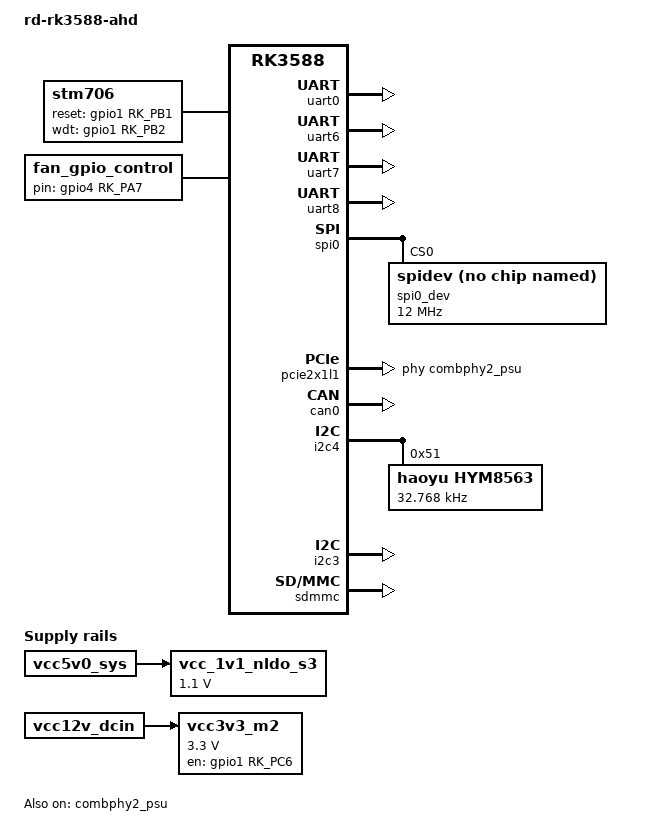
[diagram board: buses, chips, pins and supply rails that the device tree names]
/* board base */
//#include "../rk3588-evb4-lp4-v10-linux.dts"
#include "rp-rk3588-board.dtsi"

#include "rp-tp-i2c6-gt911.dtsi"
#include "rd-rk3588-lcd-gpio.dtsi"
#include "rpdzkj_config.dtsi"

/* usb */
#include "rp-usb-typea-rk3588.dtsi"
#include "rp-usb-host.dtsi"

/* ethernet */
#include "rp-eth-pcie2gmac-rk3588.dtsi"
#include "rp-eth-gmac1.dtsi"

/* pcie */
#include "rp-pcie-power-rk3588.dtsi"

/* audio */
#include "rp-audio-rt5640.dtsi"

/* wifi/bt */
#include "rp-wifi-bt-ap6275p-rk3588.dtsi"

/* camera */
#include "rp-camera-dcphy0-mipi-xs9922b.dtsi"
#include "rp-camera-dcphy1-mipi-xs9922b.dtsi"

#include "rp-lcd-hdmi0.dtsi"

/* lcd */
//#include "rp-lcd-mipi0-5-720-1280-v2.dtsi"
//#include "rp-lcd-mipi0-5-720-1280-v2-boxTP.dtsi"
//#include "rp-lcd-mipi0-7-720-1280.dtsi"
//#include "rp-lcd-mipi0-7-1024-600.dtsi"
#include "rp-lcd-mipi0-7-1024-600.dtsi"
//#include "rp-lcd-mipi0-8-800-1280-v3.dtsi"
//#include "rp-lcd-mipi0-8-1200-1920.dtsi"
//#include "rp-lcd-mipi0-10-800-1280-v3.dtsi"
//#include "rp-lcd-mipi0-10-1200-1920.dtsi"
//#include "rp-lcd-mipi0-10-1920-1200-jc.dtsi"
//#include "rp-lcd-box-edp1-13.3-15.6-1920-1080.dtsi"
//#include "rp-lcd-mipi1-gm8775-lvds-21-1920-1080.dtsi"
//#include "rp-lcd-mipi1-gm8775-lvds-10.1-1024-600.dtsi"

/* quadplex lcd */
//#include "rp-lcd-quadplex-mipi0-5-720-1280-v2-boxTP-mipi1-gm8775-lvds-10.1-1024-600-hdmi0-edp1.dtsi"
/ {
    model = "rd-rk3588-ahd";

    reserved-memory {
        #address-cells = <2>;
        #size-cells = <2>;
        ranges;
        dma_trans: dma-trans@3c000000 {
            reg = <0x0 0x3c000000 0x0 0x04000000>;
        };
    };

    vcc_1v1_nldo_s3: vcc-1v1-nldo-s3 {
        compatible = "regulator-fixed";
        regulator-name = "vcc_1v1_nldo_s3";
        regulator-always-on;
        regulator-boot-on;
        regulator-min-microvolt = <1100000>;
        regulator-max-microvolt = <1100000>;
        vin-supply = <&vcc5v0_sys>;
    };

    vcc3v3_m2: vcc3v3-m2 {
            compatible = "regulator-fixed";
            regulator-name = "vcc3v3_m2";
            regulator-always-on;
            regulator-boot-on;
            regulator-min-microvolt = <3300000>;
            regulator-max-microvolt = <3300000>;
            enable-active-high;
            gpios = <&gpio1 RK_PC6 GPIO_ACTIVE_HIGH>;
            startup-delay-us = <5000>;
            vin-supply = <&vcc12v_dcin>;
    };

        stm706 {
                status = "okay";
                compatible = "stm706";
                reset_gpio = <&gpio1 RK_PB1 GPIO_ACTIVE_HIGH>;
                wdt_gpio = <&gpio1 RK_PB2 GPIO_ACTIVE_HIGH>;
        };

	fan_gpio_control {
            compatible = "fan_gpio_control";
            gpio-pin = <&gpio4 RK_PA7 GPIO_ACTIVE_HIGH>;
            thermal-zone = "soc-thermal";
            threshold-temp = <60000>; //60C
            running-time = <10000>; //10s
            status = "okay";
        };

        rp_power{
                status = "okay";
                compatible = "rp_power";
                rp_not_deep_sleep = <1>;

//#define GPIO_FUNCTION_OUTPUT 0
//#define GPIO_FUNCTION_INPUT 1
//#define GPIO_FUNCTION_IRQ 2
//#define GPIO_FUNCTION_FLASH 3
//#define GPIO_FUNCTION_OUTPUT_CTRL 4
                //fan {   
                //        gpio_num = <&gpio4 RK_PA7 GPIO_ACTIVE_HIGH>;
                //        gpio_function = <4>;
                //};

                led {  
                        gpio_num = <&gpio4 RK_PA6 GPIO_ACTIVE_HIGH>;
                        gpio_function = <3>;
                };

                usb-host-power {  
                        gpio_num = <&gpio2 RK_PC1 GPIO_ACTIVE_HIGH>;
                        gpio_function = <4>;
                };

                vbus5v0_typec {  
                        gpio_num = <&gpio1 RK_PA2 GPIO_ACTIVE_HIGH>;
                        gpio_function = <4>;
                };

                usb-hub-reset {  
                        gpio_num = <&gpio3 RK_PB2 GPIO_ACTIVE_HIGH>;
                        gpio_function = <4>;
                };

                gps {  
                        gpio_num = <&gpio2 RK_PC0 GPIO_ACTIVE_HIGH>;
                        gpio_function = <4>;
                };

                4G {  
                        gpio_num = <&gpio4 RK_PA4 GPIO_ACTIVE_HIGH>;
                        gpio_function = <4>;
                };
                
                usb_to_serial {  
                        gpio_num = <&gpio1 RK_PA4 GPIO_ACTIVE_HIGH>;
                        gpio_function = <4>;
                };
	        serial_5v {
                        gpio_num = <&gpio1 RK_PA3 GPIO_ACTIVE_HIGH>;
                        gpio_function = <4>;

               };

    };

        rp_gpio{
                status = "okay";
                compatible = "rp_gpio";

                gpio0d3 {
                        gpio_num = <&gpio0 RK_PD3 GPIO_ACTIVE_HIGH>;
                        gpio_function = <0>;
                };

                gpio3c4 {
                        gpio_num = <&gpio3 RK_PC4 GPIO_ACTIVE_HIGH>;
                        gpio_function = <0>;
                };
                gpio3c5 {
                        gpio_num = <&gpio3 RK_PC5 GPIO_ACTIVE_HIGH>;
                        gpio_function = <0>;
                };

                gpio3c7 {
                        gpio_num = <&gpio3 RK_PC7 GPIO_ACTIVE_HIGH>;
                        gpio_function = <0>;
                };

        gpio3d5 {
            gpio_num = <&gpio3 RK_PD5 GPIO_ACTIVE_HIGH>;
            gpio_function = <0>;
        };

        gpio4b2 {
            gpio_num = <&gpio4 RK_PB2 GPIO_ACTIVE_HIGH>;
            gpio_function = <0>;
        };

        gpio4b3 {
            gpio_num = <&gpio4 RK_PB3 GPIO_ACTIVE_HIGH>;
            gpio_function = <0>;
        };

        gpio4b6 {
            gpio_num = <&gpio4 RK_PB6 GPIO_ACTIVE_HIGH>;
            gpio_function = <0>;
        };

        gpio2b2 {
            gpio_num = <&gpio2 RK_PB2 GPIO_ACTIVE_HIGH>;
            gpio_function = <0>;
        };

        gpio4c3 {
            gpio_num = <&gpio4 RK_PC3 GPIO_ACTIVE_HIGH>;
            gpio_function = <0>;
        };

        gpio2b7 {
            gpio_num = <&gpio2 RK_PB7 GPIO_ACTIVE_HIGH>;
            gpio_function = <0>;
        };
        
        gpio2c3 {
            gpio_num = <&gpio2 RK_PC3 GPIO_ACTIVE_HIGH>;
            gpio_function = <0>;
        };

        };
};

&gpio3 {
    gpio-line-names = "", "", "", "", "", "", "", "",    
            "", "", "", "", "", "", "", "",
            "", "", "", "", "gpio3c4", "gpio3c5", "", "gpio3c7",
            "", "", "", "", "", "gpio3d5", "", "";
};

&uart0 {
    status = "okay";
    pinctrl-names = "default";
    pinctrl-0 = <&uart0m0_xfer>;
};

// 485
&uart6 {
    status = "okay";
    pinctrl-names = "default";
    pinctrl-0 = <&uart6m0_xfer>;
};

&uart7 {
    status = "okay";
    pinctrl-names = "default";
    pinctrl-0 = <&uart7m1_xfer>;
};

&uart8 {
    status = "okay";
    pinctrl-names = "default";
    pinctrl-0 = <&uart8m0_xfer>;
};

&spi0 {
    status = "okay";
    pinctrl-0 = <&spi0m3_pins &spi0m3_cs0>;
    
    spi0_dev@0 {
        compatible = "rockchip,spidev";
        reg = <0>;
        spi-max-frequency = <12000000>;
        spi-lsb-first;
    };
};

// M2.0
&combphy2_psu { 
        status = "okay"; 
};

&pcie2x1l1 { 
        phys = <&combphy2_psu PHY_TYPE_PCIE>; 
        status = "okay"; 
};

&can0 {
    assigned-clocks = <&cru CLK_CAN0>;
    assigned-clock-rates = <200000000>;
    status = "okay";
    pinctrl-names = "default";
    pinctrl-0 = <&can0m0_pins>;
};

&i2c4 {
    status = "okay";
    pinctrl-names = "default";
    pinctrl-0 = <&i2c4m1_xfer>;

    hym8563: hym8563@51 {
        compatible = "haoyu,hym8563";
        reg = <0x51>;
        #clock-cells = <0>;
        clock-frequency = <32768>;
        clock-output-names = "hym8563";
        //pinctrl-names = "default";
        //pinctrl-0 = <&hym8563_int>;
        //interrupt-parent = <&gpio0>;
        //interrupts = <RK_PD4 IRQ_TYPE_LEVEL_LOW>;
        //wakeup-source;
    };

};


&i2c3{
    status="okay";
};

&sdmmc {
    status = "okay";
 //   vmmc-supply = <&vccio_sd_s0>;
};

&fiq_debugger {
    rockchip,baudrate = <115200>;
};

&display_subsystem {
clocks = <&hdptxphy_hdmi_clk0>, <&hdptxphy_hdmi_clk1>;
clock-names = "hdmi0_phy_pll", "hdmi1_phy_pll";
};

&hdptxphy_hdmi_clk0 {
            status = "okay";
};

&hdptxphy_hdmi_clk1 {
            status = "okay";
};
